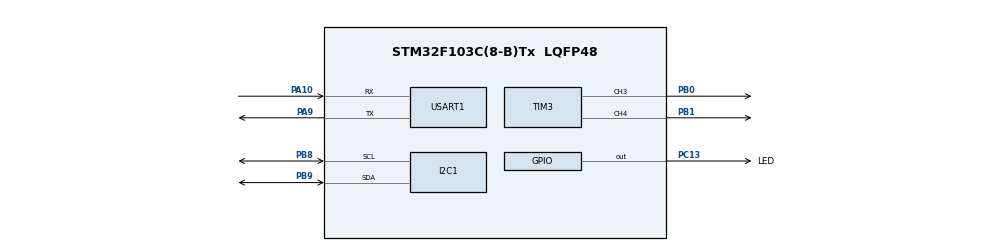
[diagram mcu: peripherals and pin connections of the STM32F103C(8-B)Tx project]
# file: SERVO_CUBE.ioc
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Mcu.Family=STM32F1
Mcu.Name=STM32F103C(8-B)Tx
Mcu.Package=LQFP48
NVIC.PriorityGroup=NVIC_PRIORITYGROUP_4
PA0-WKUP.Signal=S_TIM2_CH1_ETR
PA1.Signal=S_TIM2_CH2
PA10.Mode=Asynchronous
PA10.Signal=USART1_RX
PA13.Mode=Serial_Wire
PA13.Signal=SYS_JTMS-SWDIO
PA14.Mode=Serial_Wire
PA14.Signal=SYS_JTCK-SWCLK
PA9.Mode=Asynchronous
PA9.Signal=USART1_TX
PB0.Signal=S_TIM3_CH3
PB1.Signal=S_TIM3_CH4
PB8.Mode=I2C
PB8.Signal=I2C1_SCL
PB9.Mode=I2C
PB9.Signal=I2C1_SDA
PC13-TAMPER-RTC.GPIO_Label=LED
PC13-TAMPER-RTC.Signal=GPIO_Output
PD0-OSC_IN.Mode=HSE-External-Oscillator
PD0-OSC_IN.Signal=RCC_OSC_IN
PD1-OSC_OUT.Mode=HSE-External-Oscillator
PD1-OSC_OUT.Signal=RCC_OSC_OUT
ProjectManager.HeapSize=0x200
ProjectManager.StackSize=0x400
ProjectManager.TargetToolchain=Makefile
RCC.APB1Freq_Value=8000000
RCC.APB2Freq_Value=8000000
SH.S_TIM2_CH1_ETR.0=TIM2_CH1
SH.S_TIM2_CH2.0=TIM2_CH2
SH.S_TIM3_CH3.0=TIM3_CH3,PWM Generation3 CH3
SH.S_TIM3_CH4.0=TIM3_CH4,PWM Generation4 CH4
TIM3.Channel-PWM\ Generation3\ CH3=TIM_CHANNEL_3
TIM3.Channel-PWM\ Generation4\ CH4=TIM_CHANNEL_4
USART1.VirtualMode=VM_ASYNC
board=custom

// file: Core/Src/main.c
/* USER CODE BEGIN Header */
/**
  ******************************************************************************
  * @file           : main.c
  * @brief          : Main program body
  ******************************************************************************
  * @attention
  *
  * Copyright (c) 2025 STMicroelectronics.
  * All rights reserved.
  *
  * This software is licensed under terms that can be found in the LICENSE file
  * in the root directory of this software component.
  * If no LICENSE file comes with this software, it is provided AS-IS.
  *
  ******************************************************************************
  */
/* USER CODE END Header */
#include "main.h"

/* USER CODE BEGIN Includes */
#include <stdio.h>

/* USER CODE END Includes */

/* USER CODE BEGIN PM */
#define AS5600_I2C_ADDRESS (0x36 << 1) // Shift left for 8-bit address
#define AS5600_RAW_ANGLE_REGISTER 0x0C // Raw angle register address

/* USER CODE END PM */

I2C_HandleTypeDef hi2c1;

TIM_HandleTypeDef htim3;

UART_HandleTypeDef huart1;

/* USER CODE BEGIN PV */

uint16_t raw_angle = 0;

/* USER CODE END PV */

void SystemClock_Config(void);
static void MX_GPIO_Init(void);
static void MX_I2C1_Init(void);
static void MX_USART1_UART_Init(void);
static void MX_TIM3_Init(void);
/* USER CODE BEGIN PFP */
#define PUTCHAR_PROTOTYPE int __io_putchar(int ch)
uint16_t AS5600_ReadRawAngle(void);
/* USER CODE END PFP */

int main(void)
{

  /* MCU Configuration--------------------------------------------------------*/

  /* Reset of all peripherals, Initializes the Flash interface and the Systick. */
  HAL_Init();

  /* Configure the system clock */
  SystemClock_Config();

  /* Initialize all configured peripherals */
  MX_GPIO_Init();
  MX_I2C1_Init();
  MX_USART1_UART_Init();
  MX_TIM3_Init();

  /* Infinite loop */
  while (1)
  {

    /* USER CODE BEGIN 3 */
    HAL_GPIO_TogglePin(LED_GPIO_Port, LED_Pin);
    //printf("Calling AS5600...\n");
    raw_angle = AS5600_ReadRawAngle();

    char str[6]; // Enough to hold the maximum value of uint16_t (65535) + null terminator
    sprintf(str, "%u", raw_angle); // Format the number as an unsigned decimal
    printf(str);
    printf("\n");
    HAL_Delay(100); // 1 second delay between readings

  }
  /* USER CODE END 3 */
}

void SystemClock_Config(void)
{
  RCC_OscInitTypeDef RCC_OscInitStruct = {0};
  RCC_ClkInitTypeDef RCC_ClkInitStruct = {0};

  /** Initializes the RCC Oscillators according to the specified parameters
  * in the RCC_OscInitTypeDef structure.
  */
  RCC_OscInitStruct.OscillatorType = RCC_OSCILLATORTYPE_HSI;
  RCC_OscInitStruct.HSIState = RCC_HSI_ON;
  RCC_OscInitStruct.HSICalibrationValue = RCC_HSICALIBRATION_DEFAULT;
  RCC_OscInitStruct.PLL.PLLState = RCC_PLL_NONE;
  if (HAL_RCC_OscConfig(&RCC_OscInitStruct) != HAL_OK)
  {
    Error_Handler();
  }

  /** Initializes the CPU, AHB and APB buses clocks
  */
  RCC_ClkInitStruct.ClockType = RCC_CLOCKTYPE_HCLK|RCC_CLOCKTYPE_SYSCLK
                              |RCC_CLOCKTYPE_PCLK1|RCC_CLOCKTYPE_PCLK2;
  RCC_ClkInitStruct.SYSCLKSource = RCC_SYSCLKSOURCE_HSI;
  RCC_ClkInitStruct.AHBCLKDivider = RCC_SYSCLK_DIV1;
  RCC_ClkInitStruct.APB1CLKDivider = RCC_HCLK_DIV1;
  RCC_ClkInitStruct.APB2CLKDivider = RCC_HCLK_DIV1;

  if (HAL_RCC_ClockConfig(&RCC_ClkInitStruct, FLASH_LATENCY_0) != HAL_OK)
  {
    Error_Handler();
  }
}

static void MX_I2C1_Init(void)
{

  hi2c1.Instance = I2C1;
  hi2c1.Init.ClockSpeed = 100000;
  hi2c1.Init.DutyCycle = I2C_DUTYCYCLE_2;
  hi2c1.Init.OwnAddress1 = 0;
  hi2c1.Init.AddressingMode = I2C_ADDRESSINGMODE_7BIT;
  hi2c1.Init.DualAddressMode = I2C_DUALADDRESS_DISABLE;
  hi2c1.Init.OwnAddress2 = 0;
  hi2c1.Init.GeneralCallMode = I2C_GENERALCALL_DISABLE;
  hi2c1.Init.NoStretchMode = I2C_NOSTRETCH_DISABLE;
  if (HAL_I2C_Init(&hi2c1) != HAL_OK)
  {
    Error_Handler();
  }

}

static void MX_TIM3_Init(void)
{

  TIM_MasterConfigTypeDef sMasterConfig = {0};
  TIM_OC_InitTypeDef sConfigOC = {0};

  htim3.Instance = TIM3;
  htim3.Init.Prescaler = 0;
  htim3.Init.CounterMode = TIM_COUNTERMODE_UP;
  htim3.Init.Period = 65535;
  htim3.Init.ClockDivision = TIM_CLOCKDIVISION_DIV1;
  htim3.Init.AutoReloadPreload = TIM_AUTORELOAD_PRELOAD_DISABLE;
  if (HAL_TIM_PWM_Init(&htim3) != HAL_OK)
  {
    Error_Handler();
  }
  sMasterConfig.MasterOutputTrigger = TIM_TRGO_RESET;
  sMasterConfig.MasterSlaveMode = TIM_MASTERSLAVEMODE_DISABLE;
  if (HAL_TIMEx_MasterConfigSynchronization(&htim3, &sMasterConfig) != HAL_OK)
  {
    Error_Handler();
  }
  sConfigOC.OCMode = TIM_OCMODE_PWM1;
  sConfigOC.Pulse = 0;
  sConfigOC.OCPolarity = TIM_OCPOLARITY_HIGH;
  sConfigOC.OCFastMode = TIM_OCFAST_DISABLE;
  if (HAL_TIM_PWM_ConfigChannel(&htim3, &sConfigOC, TIM_CHANNEL_3) != HAL_OK)
  {
    Error_Handler();
  }
  if (HAL_TIM_PWM_ConfigChannel(&htim3, &sConfigOC, TIM_CHANNEL_4) != HAL_OK)
  {
    Error_Handler();
  }
  HAL_TIM_MspPostInit(&htim3);

}

static void MX_USART1_UART_Init(void)
{

  huart1.Instance = USART1;
  huart1.Init.BaudRate = 115200;
  huart1.Init.WordLength = UART_WORDLENGTH_8B;
  huart1.Init.StopBits = UART_STOPBITS_1;
  huart1.Init.Parity = UART_PARITY_NONE;
  huart1.Init.Mode = UART_MODE_TX_RX;
  huart1.Init.HwFlowCtl = UART_HWCONTROL_NONE;
  huart1.Init.OverSampling = UART_OVERSAMPLING_16;
  if (HAL_UART_Init(&huart1) != HAL_OK)
  {
    Error_Handler();
  }

}

static void MX_GPIO_Init(void)
{
  GPIO_InitTypeDef GPIO_InitStruct = {0};

  /* GPIO Ports Clock Enable */
  __HAL_RCC_GPIOC_CLK_ENABLE();
  __HAL_RCC_GPIOD_CLK_ENABLE();
  __HAL_RCC_GPIOA_CLK_ENABLE();
  __HAL_RCC_GPIOB_CLK_ENABLE();

  /*Configure GPIO pin Output Level */
  HAL_GPIO_WritePin(LED_GPIO_Port, LED_Pin, GPIO_PIN_RESET);

  /*Configure GPIO pin : LED_Pin */
  GPIO_InitStruct.Pin = LED_Pin;
  GPIO_InitStruct.Mode = GPIO_MODE_OUTPUT_PP;
  GPIO_InitStruct.Pull = GPIO_NOPULL;
  GPIO_InitStruct.Speed = GPIO_SPEED_FREQ_LOW;
  HAL_GPIO_Init(LED_GPIO_Port, &GPIO_InitStruct);

  /*Configure GPIO pins : PA0 PA1 */
  GPIO_InitStruct.Pin = GPIO_PIN_0|GPIO_PIN_1;
  GPIO_InitStruct.Mode = GPIO_MODE_AF_PP;
  GPIO_InitStruct.Speed = GPIO_SPEED_FREQ_LOW;
  HAL_GPIO_Init(GPIOA, &GPIO_InitStruct);

}

/* USER CODE BEGIN 4 */

/**
  * @brief  Retargets the C library printf function to the USART.
  * @retval None
  */
 PUTCHAR_PROTOTYPE
 {
   /* Place your implementation of fputc here */
   /* e.g. write a character to the USART1 and Loop until the end of transmission */
   HAL_UART_Transmit(&huart1, (uint8_t *)&ch, 1, 0xFFFF);

   return ch;
 }

 uint16_t AS5600_ReadRawAngle(void)
{
    //printf("starting I2C scan...\n");
    uint8_t buffer[2] = {0};

    if (__HAL_I2C_GET_FLAG(&hi2c1, I2C_FLAG_BUSY))
    {
      //printf("I2C bus busy, resetting...\n");
      HAL_I2C_DeInit(&hi2c1);
      HAL_I2C_Init(&hi2c1);

    }

    if (HAL_I2C_Mem_Read(&hi2c1, AS5600_I2C_ADDRESS, AS5600_RAW_ANGLE_REGISTER,
                         I2C_MEMADD_SIZE_8BIT, buffer, 2, HAL_MAX_DELAY) == HAL_OK)
    {
        raw_angle = (buffer[0] << 8) | buffer[1]; // Combine MSB and LSB
    }
    HAL_Delay(10); // 10 ms delay between I2C operations

    return raw_angle;
}

/* USER CODE END 4 */

void Error_Handler(void)
{
  __disable_irq();
  while (1)
  {
  }
}
